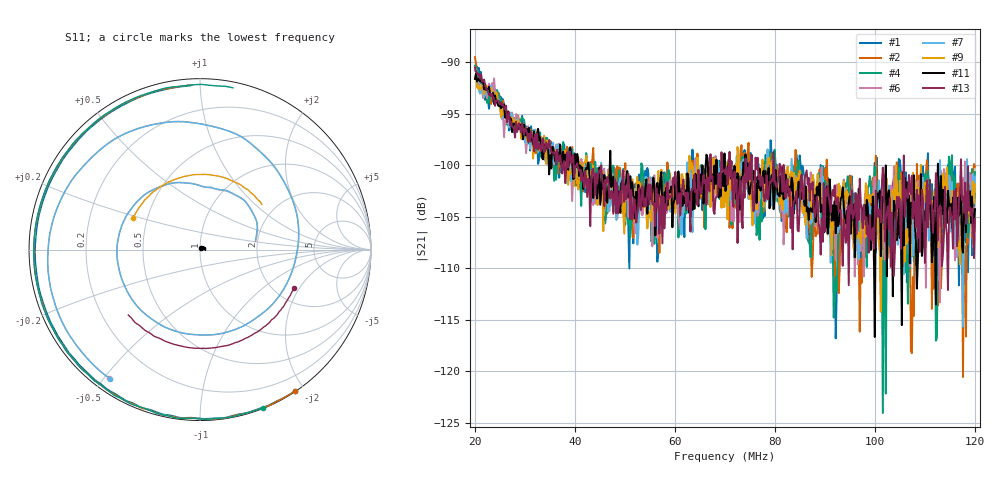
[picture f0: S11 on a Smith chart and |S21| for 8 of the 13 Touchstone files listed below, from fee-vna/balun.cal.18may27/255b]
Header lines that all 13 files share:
! Anritsu VNA Master:  Model: MS2036C/10/77
! SN:  1601066
! Existing Calibration Information:
! TYPE:  Current Settings,  Active Cal Settings
! # POINTS:  500,  500
! START FREQ:  20.000 MHz,  20.000 MHz
! STOP FREQ:  120.000 MHz,  120.000 MHz
! SOURCE POWER:  High,  High
! IFBW:  50 Hz,  50 Hz
! AVG FACTOR:  1 ,  1
! REF PLANE 1:  0 mm,  0 mm
! REF PLANE 2:  0 mm,  0 mm
! CAL TYPE:  Full S11,  Full S11
! CAL METHOD:  SOLT,  SOLT
! CAL LINE TYPE:  Coax,  Coax
! DUT PORT 1:  K-Conn(M),  K-Conn(M)
! DUT PORT 2:  K-Conn(M),  K-Conn(M)
! CAL STATUS:  OK: Accuracy High,  --
# GHZ S DB R 50.0
! FREQ.GHZ  S11DB  S11A  S21DB  S21A  S12DB  S12A  S22DB  S22A
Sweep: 20 MHz to 120 MHz
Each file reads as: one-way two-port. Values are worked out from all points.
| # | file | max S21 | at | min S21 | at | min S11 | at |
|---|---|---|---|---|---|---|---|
| 1 | 5b.47.1-2.s2p | -90.40 dB | 20.4 MHz | -116.8 dB | 92.14 MHz | -0.4 dB | 106 MHz |
| 2 | 5b.47.3-5.s2p | -89.50 dB | 20 MHz | -120.5 dB | 117.6 MHz | -0.4 dB | 115.8 MHz |
| 3 | 5b.66.1-2.s2p | -90.37 dB | 20.2 MHz | -116.4 dB | 113.2 MHz | -0.4 dB | 86.33 MHz |
| 4 | 5b.66.3-5.s2p | -90.31 dB | 20 MHz | -124.0 dB | 101.6 MHz | -0.3 dB | 115.8 MHz |
| 5 | 5b.m.3.s2p | -90.91 dB | 20.2 MHz | -117.6 dB | 105.2 MHz | -9.6 dB | 120 MHz |
| 6 | 5b.m.4.BOX.W.METAL.INSIDE.ANTENNA.FRAME.s2p | -90.62 dB | 20.2 MHz | -113.3 dB | 113 MHz | -9.7 dB | 120 MHz |
| 7 | 5b.m.5.s2p | -90.51 dB | 20 MHz | -115.7 dB | 117.6 MHz | -9.7 dB | 120 MHz |
| 8 | 5b.r20.1-2.s2p | -91.75 dB | 21.8 MHz | -112.6 dB | 111.6 MHz | -7.4 dB | 36.83 MHz |
| 9 | 5b.r20.3-5.s2p | -91.26 dB | 20.2 MHz | -114.2 dB | 101.2 MHz | -7.3 dB | 30.82 MHz |
| 10 | 5b.r50.1-2.s2p | -91.06 dB | 20.6 MHz | -116.5 dB | 117.8 MHz | -39.0 dB | 24.21 MHz |
| 11 | 5b.r50.3-5.s2p | -91.06 dB | 20.2 MHz | -116.7 dB | 99.96 MHz | -39.3 dB | 20 MHz |
| 12 | 5b.r200.1-2.s2p | -90.64 dB | 20.4 MHz | -115.1 dB | 103.8 MHz | -5.0 dB | 116.4 MHz |
| 13 | 5b.r200.3-5.s2p | -90.48 dB | 20 MHz | -112.1 dB | 114.6 MHz | -4.9 dB | 118.6 MHz |
